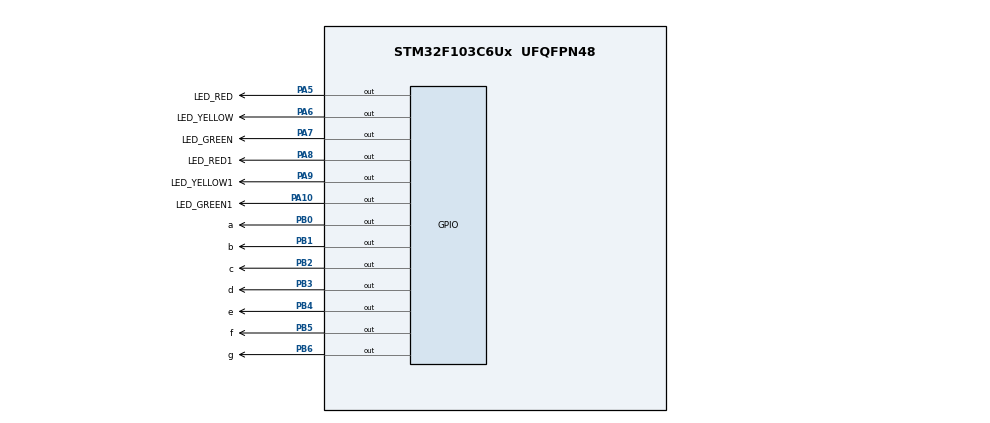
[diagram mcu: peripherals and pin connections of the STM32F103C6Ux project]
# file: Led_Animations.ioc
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Mcu.Family=STM32F1
Mcu.Name=STM32F103C6Ux
Mcu.Package=UFQFPN48
NVIC.PriorityGroup=NVIC_PRIORITYGROUP_4
PA10.GPIO_Label=LED_GREEN1
PA10.Signal=GPIO_Output
PA5.GPIO_Label=LED_RED
PA5.Signal=GPIO_Output
PA6.GPIO_Label=LED_YELLOW
PA6.Signal=GPIO_Output
PA7.GPIO_Label=LED_GREEN
PA7.Signal=GPIO_Output
PA8.GPIO_Label=LED_RED1
PA8.Signal=GPIO_Output
PA9.GPIO_Label=LED_YELLOW1
PA9.Signal=GPIO_Output
PB0.GPIO_Label=a
PB0.Signal=GPIO_Output
PB1.GPIO_Label=b
PB1.Signal=GPIO_Output
PB2.GPIO_Label=c
PB2.Signal=GPIO_Output
PB3.GPIO_Label=d
PB3.Signal=GPIO_Output
PB4.GPIO_Label=e
PB4.Signal=GPIO_Output
PB5.GPIO_Label=f
PB5.Signal=GPIO_Output
PB6.GPIO_Label=g
PB6.Signal=GPIO_Output
ProjectManager.HeapSize=0x200
ProjectManager.StackSize=0x400
ProjectManager.TargetToolchain=STM32CubeIDE
RCC.APB1Freq_Value=8000000
RCC.APB2Freq_Value=8000000
VP_SYS_VS_ND.Mode=No_Debug
board=custom

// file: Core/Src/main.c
/* USER CODE BEGIN Header */
/**
  ******************************************************************************
  * @file           : main.c
  * @brief          : Main program body
  ******************************************************************************
  * @attention
  *
  * <h2><center>&copy; Copyright (c) 2025 STMicroelectronics.
  * All rights reserved.</center></h2>
  *
  * This software component is licensed by ST under BSD 3-Clause license,
  * the "License"; You may not use this file except in compliance with the
  * License. You may obtain a copy of the License at:
  *                        opensource.org/licenses/BSD-3-Clause
  *
  ******************************************************************************
  */
/* USER CODE END Header */
#include "main.h"

void SystemClock_Config(void);
static void MX_GPIO_Init(void);

/* USER CODE BEGIN 0 */
uint8_t seg_digits[10][7] = {
	{1, 1, 1, 1, 1, 1, 0}, // 0
	{0, 1, 1, 0, 0, 0, 0}, // 1
	{1, 1, 0, 1, 1, 0, 1}, // 2
	{1, 1, 1, 1, 0, 0, 1}, // 3
	{0, 1, 1, 0, 0, 1, 1}, // 4
	{1, 0, 1, 1, 0, 1, 1}, // 5
	{1, 0, 1, 1, 1, 1, 1}, // 6
	{1, 1, 1, 0, 0, 0, 0}, // 7
	{1, 1, 1, 1, 1, 1, 1}, // 8
	{1, 1, 1, 1, 0, 1, 1}  // 9
};

// Function to display the digit on 7-segment display
void display7SEG(uint8_t num) {
    // Directly set/reset the pins for each segment (a-g) of the 7-segment display
    HAL_GPIO_WritePin(GPIOB, GPIO_PIN_0, seg_digits[num][0] ? GPIO_PIN_RESET : GPIO_PIN_SET);  // Segment A
    HAL_GPIO_WritePin(GPIOB, GPIO_PIN_1, seg_digits[num][1] ? GPIO_PIN_RESET : GPIO_PIN_SET);  // Segment B
    HAL_GPIO_WritePin(GPIOB, GPIO_PIN_2, seg_digits[num][2] ? GPIO_PIN_RESET : GPIO_PIN_SET);  // Segment C
    HAL_GPIO_WritePin(GPIOB, GPIO_PIN_3, seg_digits[num][3] ? GPIO_PIN_RESET : GPIO_PIN_SET);  // Segment D
    HAL_GPIO_WritePin(GPIOB, GPIO_PIN_4, seg_digits[num][4] ? GPIO_PIN_RESET : GPIO_PIN_SET);  // Segment E
    HAL_GPIO_WritePin(GPIOB, GPIO_PIN_5, seg_digits[num][5] ? GPIO_PIN_RESET : GPIO_PIN_SET);  // Segment F
    HAL_GPIO_WritePin(GPIOB, GPIO_PIN_6, seg_digits[num][6] ? GPIO_PIN_RESET : GPIO_PIN_SET);  // Segment G
}

/* USER CODE END 0 */

int main(void)
{

  /* MCU Configuration--------------------------------------------------------*/

  /* Reset of all peripherals, Initializes the Flash interface and the Systick. */
  HAL_Init();

  /* Configure the system clock */
  SystemClock_Config();

  /* Initialize all configured peripherals */
  MX_GPIO_Init();
  /* Infinite loop */
  /* USER CODE BEGIN WHILE */
  int turn=3; /* số giây của đèn */
  int state=0; /* state=0 thì đèn 0 là red, 1 thì đèn 1 là red */
  int time=3;

  while (1)
  {
	  if(state==0){
		  /*0 turn red*/
		  HAL_GPIO_WritePin(LED_RED_GPIO_Port, LED_RED_Pin, SET);
		  HAL_GPIO_WritePin(LED_GREEN_GPIO_Port, LED_GREEN_Pin, RESET);
		  HAL_GPIO_WritePin(LED_YELLOW_GPIO_Port, LED_YELLOW_Pin, RESET);
		  if(turn==3){
			  if(time>0){
			  HAL_GPIO_WritePin(LED_RED1_GPIO_Port, LED_RED1_Pin, RESET);
			  HAL_GPIO_WritePin(LED_GREEN1_GPIO_Port, LED_GREEN1_Pin, SET);
			  HAL_GPIO_WritePin(LED_YELLOW1_GPIO_Port, LED_YELLOW1_Pin, RESET);
			  display7SEG(time);
			  time--;
			  } else{
				  turn--;
				  time=turn;
			  }
		  }
		  if(turn==2){
			  if(time>0){
				  HAL_GPIO_WritePin(LED_RED1_GPIO_Port, LED_RED1_Pin, RESET);
				  HAL_GPIO_WritePin(LED_GREEN1_GPIO_Port, LED_GREEN1_Pin, RESET);
				  HAL_GPIO_WritePin(LED_YELLOW1_GPIO_Port, LED_YELLOW1_Pin, SET);
				  display7SEG(time);
				  time--;
			  } else{
				  turn++;
				  time=turn;
				  state=1;
			  }
		  }
	  }
	  if(state==1){
		  /*1 turn red*/
		  HAL_GPIO_WritePin(LED_RED1_GPIO_Port, LED_RED1_Pin, SET);
		  HAL_GPIO_WritePin(LED_GREEN1_GPIO_Port, LED_GREEN1_Pin, RESET);
		  HAL_GPIO_WritePin(LED_YELLOW1_GPIO_Port, LED_YELLOW1_Pin, RESET);
		  if(turn==3){
			  if(time>0){
			  HAL_GPIO_WritePin(LED_RED_GPIO_Port, LED_RED_Pin, RESET);
			  HAL_GPIO_WritePin(LED_GREEN_GPIO_Port, LED_GREEN_Pin, SET);
			  HAL_GPIO_WritePin(LED_YELLOW_GPIO_Port, LED_YELLOW_Pin, RESET);
			  display7SEG(time);
			  time--;
			  } else{
				  turn--;
				  time=turn;
			  }
		  }
		  if(turn==2){
			  if(time>0){
				  HAL_GPIO_WritePin(LED_RED_GPIO_Port, LED_RED_Pin, RESET);
				  HAL_GPIO_WritePin(LED_GREEN_GPIO_Port, LED_GREEN_Pin, RESET);
				  HAL_GPIO_WritePin(LED_YELLOW_GPIO_Port, LED_YELLOW_Pin, SET);
				  display7SEG(time);
				  time--;
			  } else{
				  turn++;
				  time=turn;
				  state=0;
			  }
		  }
	  }
	  HAL_Delay(1000);
    /* USER CODE END WHILE */

  }
}

void SystemClock_Config(void)
{
  RCC_OscInitTypeDef RCC_OscInitStruct = {0};
  RCC_ClkInitTypeDef RCC_ClkInitStruct = {0};

  /** Initializes the RCC Oscillators according to the specified parameters
  * in the RCC_OscInitTypeDef structure.
  */
  RCC_OscInitStruct.OscillatorType = RCC_OSCILLATORTYPE_HSI;
  RCC_OscInitStruct.HSIState = RCC_HSI_ON;
  RCC_OscInitStruct.HSICalibrationValue = RCC_HSICALIBRATION_DEFAULT;
  RCC_OscInitStruct.PLL.PLLState = RCC_PLL_NONE;
  if (HAL_RCC_OscConfig(&RCC_OscInitStruct) != HAL_OK)
  {
    Error_Handler();
  }
  /** Initializes the CPU, AHB and APB buses clocks
  */
  RCC_ClkInitStruct.ClockType = RCC_CLOCKTYPE_HCLK|RCC_CLOCKTYPE_SYSCLK
                              |RCC_CLOCKTYPE_PCLK1|RCC_CLOCKTYPE_PCLK2;
  RCC_ClkInitStruct.SYSCLKSource = RCC_SYSCLKSOURCE_HSI;
  RCC_ClkInitStruct.AHBCLKDivider = RCC_SYSCLK_DIV1;
  RCC_ClkInitStruct.APB1CLKDivider = RCC_HCLK_DIV1;
  RCC_ClkInitStruct.APB2CLKDivider = RCC_HCLK_DIV1;

  if (HAL_RCC_ClockConfig(&RCC_ClkInitStruct, FLASH_LATENCY_0) != HAL_OK)
  {
    Error_Handler();
  }
}

static void MX_GPIO_Init(void)
{
  GPIO_InitTypeDef GPIO_InitStruct = {0};

  /* GPIO Ports Clock Enable */
  __HAL_RCC_GPIOA_CLK_ENABLE();
  __HAL_RCC_GPIOB_CLK_ENABLE();

  /*Configure GPIO pin Output Level */
  HAL_GPIO_WritePin(GPIOA, LED_RED_Pin|LED_YELLOW_Pin|LED_GREEN_Pin|LED_RED1_Pin
                          |LED_YELLOW1_Pin|LED_GREEN1_Pin, GPIO_PIN_RESET);

  /*Configure GPIO pin Output Level */
  HAL_GPIO_WritePin(GPIOB, a_Pin|b_Pin|c_Pin|d_Pin
                          |e_Pin|f_Pin|g_Pin, GPIO_PIN_RESET);

  /*Configure GPIO pins : LED_RED_Pin LED_YELLOW_Pin LED_GREEN_Pin LED_RED1_Pin
                           LED_YELLOW1_Pin LED_GREEN1_Pin */
  GPIO_InitStruct.Pin = LED_RED_Pin|LED_YELLOW_Pin|LED_GREEN_Pin|LED_RED1_Pin
                          |LED_YELLOW1_Pin|LED_GREEN1_Pin;
  GPIO_InitStruct.Mode = GPIO_MODE_OUTPUT_PP;
  GPIO_InitStruct.Pull = GPIO_NOPULL;
  GPIO_InitStruct.Speed = GPIO_SPEED_FREQ_LOW;
  HAL_GPIO_Init(GPIOA, &GPIO_InitStruct);

  /*Configure GPIO pins : a_Pin b_Pin c_Pin d_Pin
                           e_Pin f_Pin g_Pin */
  GPIO_InitStruct.Pin = a_Pin|b_Pin|c_Pin|d_Pin
                          |e_Pin|f_Pin|g_Pin;
  GPIO_InitStruct.Mode = GPIO_MODE_OUTPUT_PP;
  GPIO_InitStruct.Pull = GPIO_NOPULL;
  GPIO_InitStruct.Speed = GPIO_SPEED_FREQ_LOW;
  HAL_GPIO_Init(GPIOB, &GPIO_InitStruct);

}

void Error_Handler(void)
{
  __disable_irq();
  while (1)
  {
  }
}

/************************ (C) COPYRIGHT STMicroelectronics *****END OF FILE****/
